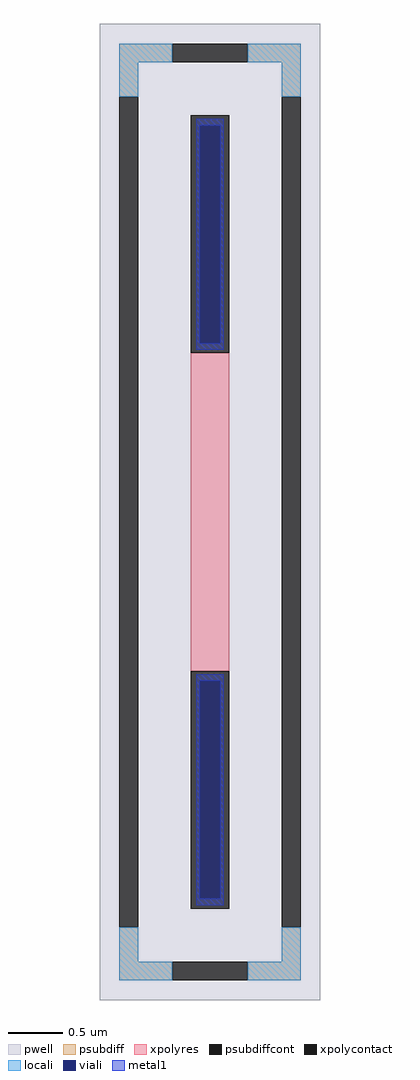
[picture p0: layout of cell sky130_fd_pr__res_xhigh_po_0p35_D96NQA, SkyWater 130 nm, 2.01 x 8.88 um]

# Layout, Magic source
magic
tech sky130A
magscale 1 2
<< pwell >>
rect -201 -888 201 888
<< psubdiff >>
rect -165 818 -69 852
rect 69 818 165 852
rect -165 756 -131 818
rect 131 756 165 818
rect -165 -818 -131 -756
rect 131 -818 165 -756
rect -165 -852 -69 -818
rect 69 -852 165 -818
<< psubdiffcont >>
rect -69 818 69 852
rect -165 -756 -131 756
rect 131 -756 165 756
rect -69 -852 69 -818
<< xpolycontact >>
rect -35 290 35 722
rect -35 -722 35 -290
<< xpolyres >>
rect -35 -290 35 290
<< locali >>
rect -165 818 -69 852
rect 69 818 165 852
rect -165 756 -131 818
rect 131 756 165 818
rect -165 -818 -131 -756
rect 131 -818 165 -756
rect -165 -852 -69 -818
rect 69 -852 165 -818
<< viali >>
rect -19 307 19 704
rect -19 -704 19 -307
<< metal1 >>
rect -25 704 25 716
rect -25 307 -19 704
rect 19 307 25 704
rect -25 295 25 307
rect -25 -307 25 -295
rect -25 -704 -19 -307
rect 19 -704 25 -307
rect -25 -716 25 -704
<< properties >>
string FIXED_BBOX -148 -835 148 835
string gencell sky130_fd_pr__res_xhigh_po_0p35
string library sky130
string parameters w 0.350 l 2.9 m 1 nx 1 wmin 0.350 lmin 0.50 rho 2000 val 17.646k dummy 0 dw 0.0 term 188.2 sterm 0.0 caplen 0 wmax 0.350 guard 1 glc 1 grc 1 gtc 1 gbc 1 compatible {sky130_fd_pr__res_xhigh_po_0p35  sky130_fd_pr__res_xhigh_po_0p69 sky130_fd_pr__res_xhigh_po_1p41  sky130_fd_pr__res_xhigh_po_2p85 sky130_fd_pr__res_xhigh_po_5p73} snake 0 full_metal 1 n_guard 0 hv_guard 0 vias 1 viagb 0 viagt 0 viagl 0 viagr 0
<< end >>
